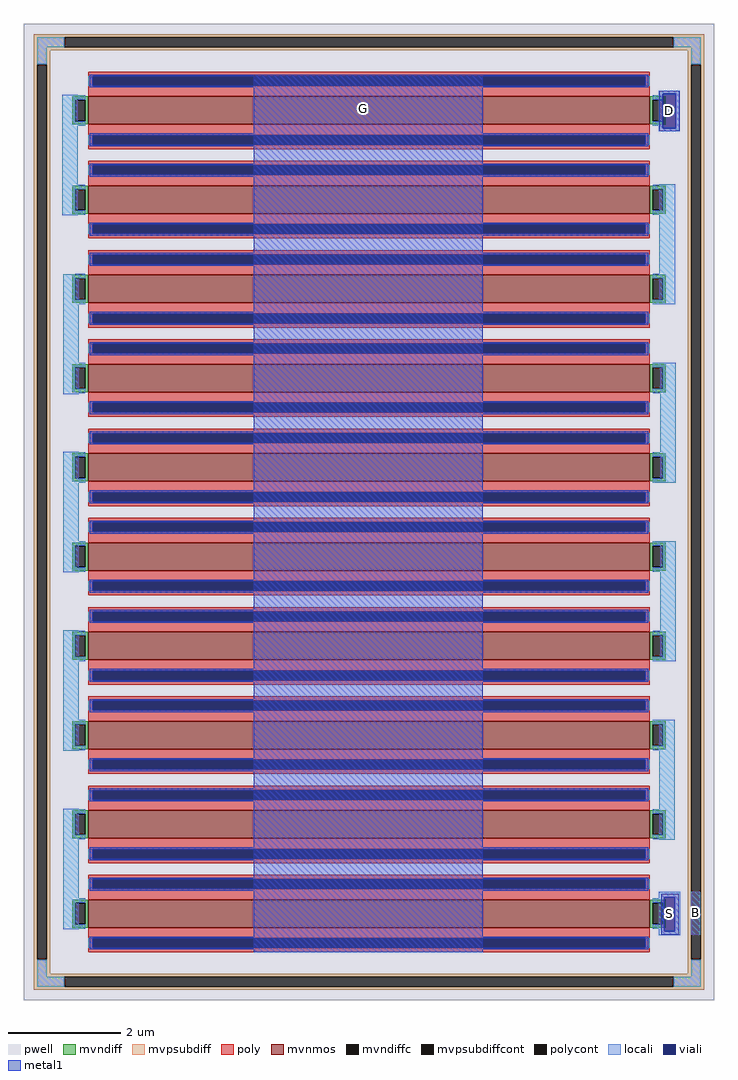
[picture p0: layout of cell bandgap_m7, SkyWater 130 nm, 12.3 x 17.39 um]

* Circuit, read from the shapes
.subckt bandgap_m7 D G S B
XM1 S G n1 B sky130_fd_pr__nfet_g5v0d10v5 w=0.5 l=10
XM2 n2 G n1 B sky130_fd_pr__nfet_g5v0d10v5 w=0.5 l=10
XM3 n2 G n3 B sky130_fd_pr__nfet_g5v0d10v5 w=0.5 l=10
XM4 n4 G n3 B sky130_fd_pr__nfet_g5v0d10v5 w=0.5 l=10
XM5 n4 G n5 B sky130_fd_pr__nfet_g5v0d10v5 w=0.5 l=10
XM6 n6 G n5 B sky130_fd_pr__nfet_g5v0d10v5 w=0.5 l=10
XM7 n6 G n7 B sky130_fd_pr__nfet_g5v0d10v5 w=0.5 l=10
XM8 n8 G n7 B sky130_fd_pr__nfet_g5v0d10v5 w=0.5 l=10
XM9 n8 G n9 B sky130_fd_pr__nfet_g5v0d10v5 w=0.5 l=10
XM10 D G n9 B sky130_fd_pr__nfet_g5v0d10v5 w=0.5 l=10
.ends

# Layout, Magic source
magic
tech sky130A
magscale 1 2
<< locali >>
rect 2201 3166 2274 3178
rect 76 2734 132 3162
rect 2201 3044 2216 3166
rect 2262 3044 2274 3166
rect 2201 3032 2274 3044
rect 79 2096 135 2524
rect 2204 2416 2260 2844
rect 79 1462 135 1890
rect 2206 1780 2262 2208
rect 79 826 135 1254
rect 2206 1144 2262 1572
rect 79 190 135 618
rect 2203 508 2259 936
rect 2202 304 2278 322
rect 2202 182 2222 304
rect 2258 182 2278 304
rect 2202 168 2278 182
rect 2318 170 2350 322
<< viali >>
rect 2216 3044 2262 3166
rect 2222 182 2258 304
<< metal1 >>
rect 758 108 1574 3232
rect 2204 3166 2276 3178
rect 2204 3044 2216 3166
rect 2262 3044 2276 3166
rect 2204 3032 2276 3044
rect 2210 304 2272 316
rect 2210 182 2222 304
rect 2258 182 2272 304
rect 2210 170 2272 182
use sky130_fd_pr__nfet_g5v0d10v5_4GJ86D  sky130_fd_pr__nfet_g5v0d10v5_4GJ86D_0
transform 1 0 1169 0 1 1676
box -1230 -1739 1230 1739
<< labels >>
flabel viali 2240 3108 2240 3108 0 FreeSans 800 0 0 0 D
port 0 nsew
flabel metal1 1150 3114 1150 3114 0 FreeSans 800 0 0 0 G
port 1 nsew
flabel viali 2240 244 2240 244 0 FreeSans 800 0 0 0 S
port 2 nsew
flabel locali 2334 248 2334 248 0 FreeSans 800 0 0 0 B
port 3 nsew
<< end >>

# cell sky130_fd_pr__nfet_g5v0d10v5_4GJ86D: kit device sky130_fd_pr__nfet_g5v0d10v5, w 0.5 l 10 m 10 nf 1 diffcov 100 polycov 100 guard 1 glc 1 grc 1 gtc 1 gbc 1 tbcov 100 rlcov 100 topc 1 botc 1 poverlap 0 doverlap 1 lmin 0.50 wmin 0.42 class mosfet compatible {sky130_fd_pr__nfet_01v8 sky130_fd_pr__nfet_01v8_lvt sky130_fd_bs_flash__special_sonosfet_star sky130_fd_pr__nfet_g5v0d10v5 sky130_fd_pr__nfet_05v0_nvt sky130_fd_pr__nfet_03v3_nvt} full_metal 1 conn_gates 0 viasrc 100 viadrn 100 viagate 100 viagb 0 viagr 0 viagl 0 viagt 0 doports 1
